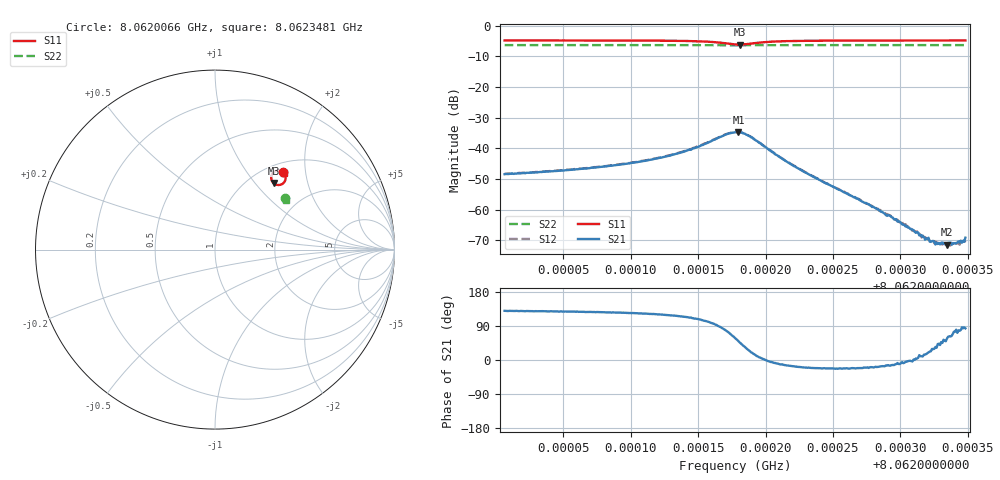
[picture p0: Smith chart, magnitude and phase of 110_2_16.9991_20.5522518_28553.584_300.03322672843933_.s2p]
#  HZ  S  RI  R  50.00
! Rohde & Schwarz Vector Network Analyzer
! Rohde-Schwarz,ZNB20-2Port,1311601062101988,3.16
! Created: UTC 3/20/2024, 10:57:00 PM
! freq[Hz]  re:S11  im:S11  re:S21  im:S21  re:S12  im:S12  re:S22  im:S22
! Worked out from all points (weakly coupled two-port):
!   401 points, 8.0620066 GHz to 8.0623481 GHz, reference 50 ohm
!   highest |S21| = -34.69 dB at 8.0621799 GHz (marker M1); lowest = -71.5 dB at 8.0623345 GHz (marker M2)
!   lowest |S11| = -6.1 dB at 8.0621808 GHz (marker M3), VSWR 2.95, Z = 63.9 + j62.7 ohm
!   |S11| at or under -10 dB: nowhere
!   |S22| runs from -6.4 to -6.3 dB; largest |S21 - S12| = 0.0013
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8.06200662e9  0.3769 0.435  -0.00242 0.0029  -0.00226 0.00307  0.3874 0.2898
8.06206382e9  0.3825 0.4291  -0.0028 0.0037  -0.00259 0.00389  0.3894 0.2868
8.06209797e9  0.387 0.4232  -0.00319 0.00468  -0.00295 0.00491  0.3906 0.285
8.06212102e9  0.3905 0.4164  -0.00351 0.00599  -0.00317 0.0063  0.3914 0.2836
8.06214578e9  0.3938 0.4007  -0.0034 0.00924  -0.00295 0.00948  0.3921 0.2817
8.06217139e9  0.365 0.3615  0.00418 0.0165  0.00531 0.0164  0.391 0.2793
8.06217737e9  0.34 0.3623  0.0097 0.0155  0.0108 0.0151  0.3902 0.2795
8.06217993e9  0.3293 0.3678  0.012 0.014  0.0128 0.0133  0.3899 0.2798
8.06218079e9  0.3262 0.3706  0.0125 0.0132  0.0134 0.0124  0.3898 0.2798
8.06218847e9  0.3133 0.4013  0.0144 0.00614  0.0149 0.00513  0.3899 0.2811
8.06220042e9  0.3285 0.4318  0.0104 -9.77e-05  0.0103 -0.000747  0.3914 0.2815
8.06221494e9  0.3475 0.4399  0.00604 -0.00147  0.006 -0.00185  0.393 0.281
8.06223457e9  0.3611 0.4397  0.00329 -0.00126  0.00323 -0.00144  0.3941 0.2798
8.06227641e9  0.3738 0.4352  0.00114 -0.000439  0.00112 -0.000476  0.3959 0.2775
8.06229178e9  0.3764 0.4338  0.000775 -0.000206  0.000773 -0.00026  0.3964 0.2768
8.06231739e9  0.3798 0.4318  0.00035 8.78e-05  0.000318 7.24e-05  0.3972 0.2754
8.06232422e9  0.3806 0.4311  0.00027 0.000149  0.000296 0.000129  0.3974 0.2749
8.06232934e9  0.3813 0.4308  0.000208 0.000172  0.000211 0.000145  0.3976 0.2748
8.06233446e9  0.3818 0.4304  0.000148 0.000222  0.000165 0.000221  0.3977 0.2746
8.06234044e9  0.3824 0.43  7.4e-05 0.00027  7.12e-05 0.000263  0.3979 0.2742
8.06234556e9  0.3829 0.4295  1.81e-05 0.000288  4.92e-05 0.00031  0.3982 0.2738
8.06234812e9  0.3831 0.4293  3.93e-05 0.000346  4.18e-05 0.000288  0.3983 0.2737
